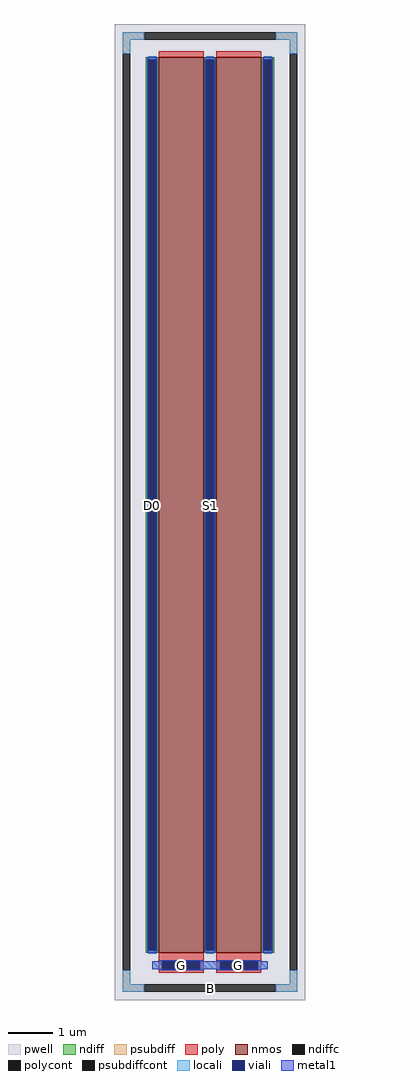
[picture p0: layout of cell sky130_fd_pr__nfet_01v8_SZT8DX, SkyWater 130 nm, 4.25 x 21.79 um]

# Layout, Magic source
magic
tech sky130A
magscale 1 2
<< pwell >>
rect -425 -2179 425 2179
<< nmos >>
rect -229 -1969 -29 2031
rect 29 -1969 229 2031
<< ndiff >>
rect -287 2019 -229 2031
rect -287 -1957 -275 2019
rect -241 -1957 -229 2019
rect -287 -1969 -229 -1957
rect -29 2019 29 2031
rect -29 -1957 -17 2019
rect 17 -1957 29 2019
rect -29 -1969 29 -1957
rect 229 2019 287 2031
rect 229 -1957 241 2019
rect 275 -1957 287 2019
rect 229 -1969 287 -1957
<< ndiffc >>
rect -275 -1957 -241 2019
rect -17 -1957 17 2019
rect 241 -1957 275 2019
<< psubdiff >>
rect -389 2109 -293 2143
rect 293 2109 389 2143
rect -389 2047 -355 2109
rect 355 2047 389 2109
rect -389 -2109 -355 -2047
rect 355 -2109 389 -2047
rect -389 -2143 -293 -2109
rect 293 -2143 389 -2109
<< psubdiffcont >>
rect -293 2109 293 2143
rect -389 -2047 -355 2047
rect 355 -2047 389 2047
rect -293 -2143 293 -2109
<< poly >>
rect -229 2031 -29 2057
rect 29 2031 229 2057
rect -229 -2007 -29 -1969
rect -229 -2041 -213 -2007
rect -45 -2041 -29 -2007
rect -229 -2057 -29 -2041
rect 29 -2007 229 -1969
rect 29 -2041 45 -2007
rect 213 -2041 229 -2007
rect 29 -2057 229 -2041
<< polycont >>
rect -213 -2041 -45 -2007
rect 45 -2041 213 -2007
<< locali >>
rect -389 2109 -293 2143
rect 293 2109 389 2143
rect -389 2047 -355 2109
rect 355 2047 389 2109
rect -275 2019 -241 2035
rect -275 -1973 -241 -1957
rect -17 2019 17 2035
rect -17 -1973 17 -1957
rect 241 2019 275 2035
rect 241 -1973 275 -1957
rect -258 -2041 -213 -2007
rect -45 -2041 45 -2007
rect 213 -2041 258 -2007
rect -389 -2109 -355 -2047
rect 355 -2109 389 -2047
rect -389 -2143 -293 -2109
rect 293 -2143 389 -2109
<< viali >>
rect -275 -1957 -241 2019
rect -17 -1957 17 2019
rect 241 -1957 275 2019
rect -213 -2041 -45 -2007
rect 45 -2041 213 -2007
<< metal1 >>
rect -281 2019 -235 2031
rect -281 -1957 -275 2019
rect -241 -1957 -235 2019
rect -281 -1969 -235 -1957
rect -23 2019 23 2031
rect -23 -1957 -17 2019
rect 17 -1957 23 2019
rect -23 -1969 23 -1957
rect 235 2019 281 2031
rect 235 -1957 241 2019
rect 275 -1957 281 2019
rect 235 -1969 281 -1957
rect -225 -2007 -33 -2001
rect 33 -2007 225 -2001
rect -258 -2041 -213 -2007
rect -45 -2041 45 -2007
rect 213 -2041 258 -2007
rect -225 -2047 -33 -2041
rect 33 -2047 225 -2041
<< labels >>
rlabel psubdiffcont 0 -2126 0 -2126 0 B
port 1 nsew
rlabel ndiffc -258 31 -258 31 0 D0
port 2 nsew
rlabel polycont -129 -2024 -129 -2024 0 G
port 3 nsew
rlabel ndiffc 0 31 0 31 0 S1
port 4 nsew
rlabel polycont 129 -2024 129 -2024 0 G
port 3 nsew
<< properties >>
string FIXED_BBOX -372 -2126 372 2126
string gencell sky130_fd_pr__nfet_01v8
string library sky130
string parameters w 20.0 l 1.0 m 1 nf 2 diffcov 100 polycov 100 guard 1 glc 1 grc 1 gtc 1 gbc 1 tbcov 100 rlcov 100 topc 0 botc 1 poverlap 0 doverlap 1 lmin 0.15 wmin 0.42 class mosfet compatible {sky130_fd_pr__nfet_01v8 sky130_fd_pr__nfet_01v8_lvt  sky130_fd_bs_flash__special_sonosfet_star  sky130_fd_pr__nfet_g5v0d10v5 sky130_fd_pr__nfet_05v0_nvt  sky130_fd_pr__nfet_03v3_nvt} full_metal 1 conn_gates 1 viasrc 100 viadrn 100 viagate 100 viagb 0 viagr 0 viagl 0 viagt 0 doports 1
<< end >>
